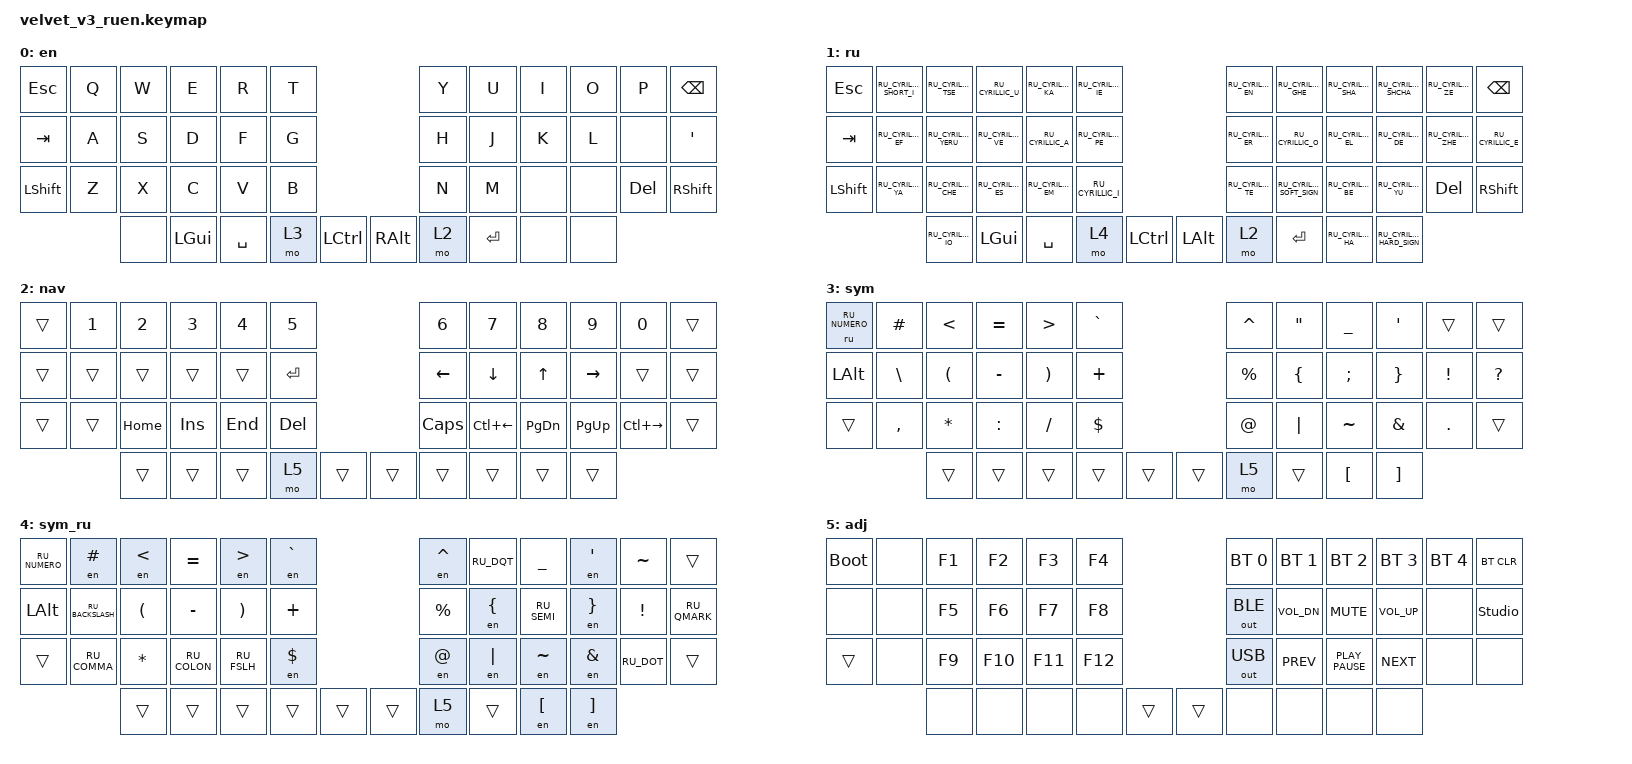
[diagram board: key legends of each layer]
#include "keys_ru.h"
#include <behaviors.dtsi>
#include <dt-bindings/zmk/bt.h>
#include <dt-bindings/zmk/keys.h>
#include <dt-bindings/zmk/outputs.h>

/ {
    combos {
        compatible = "zmk,combos";

        cmben {
            bindings = <&layer_en>;
            key-positions = <3 4>;
            layers = <1>;
        };

        cmbru {
            bindings = <&layer_ru>;
            key-positions = <3 4>;
            layers = <0>;
        };

        cmbemoji {
            bindings = <&kp LG(DOT)>;
            key-positions = <34 38>;
            layers = <0 1>;
        };

        cmbcombo {
            bindings = <&kp LG(GRAVE)>;
            key-positions = <38 12>;
            layers = <0 1>;
        };
    };

    macros {
        to_ru: to_ru {
            compatible = "zmk,behavior-macro";
            #binding-cells = <0>;
            bindings = <&kp LS(LC(N2))>;
            label = "TO_RU";
        };

        to_en: to_en {
            compatible = "zmk,behavior-macro";
            #binding-cells = <0>;
            bindings = <&kp LS(LC(N1))>;
            label = "TO_EN";
        };

        layer_en: layer_en {
            compatible = "zmk,behavior-macro";
            #binding-cells = <0>;
            bindings = <&to 0 &to_en>;
            label = "LAYER_EN";
        };

        layer_ru: layer_ru {
            compatible = "zmk,behavior-macro";
            #binding-cells = <0>;
            bindings = <&to 1 &to_ru>;
            label = "LAYER_RU";
        };

        en: en {
            compatible = "zmk,behavior-macro-one-param";
            #binding-cells = <1>;
            bindings = <&kp LS(LC(NUMBER_1)) &macro_param_1to1 &kp MACRO_PLACEHOLDER &kp LS(LC(NUMBER_2))>;
            label = "EN";
            tap-ms = <30>;
        };

        ru: ru {
            compatible = "zmk,behavior-macro-one-param";
            #binding-cells = <1>;
            bindings = <&kp LS(LC(NUMBER_2)) &macro_param_1to1 &kp MACRO_PLACEHOLDER &kp LS(LC(NUMBER_1))>;
            label = "RU";
            tap-ms = <30>;
        };
    };

    keymap {
        compatible = "zmk,keymap";

        en {
            bindings = <
&kp ESC    &kp Q  &kp W  &kp E     &kp R      &kp T                                &kp Y  &kp U      &kp I  &kp O  &kp P       &kp BSPC
&kp TAB    &kp A  &kp S  &kp D     &kp F      &kp G                                &kp H  &kp J      &kp K  &kp L  &none       &kp SINGLE_QUOTE
&kp LSHFT  &kp Z  &kp X  &kp C     &kp V      &kp B                                &kp N  &kp M      &none  &none  &kp DELETE  &kp RSHFT
                  &none  &kp LGUI  &kp SPACE  &mo 3  &kp LEFT_CONTROL    &kp RALT  &mo 2  &kp ENTER  &none  &none
            >;

            display-name = "en";
        };

        ru {
            display-name = "ru";
            bindings = <
&kp ESC    &kp RU_CYRILLIC_SHORT_I  &kp RU_CYRILLIC_TSE   &kp RU_CYRILLIC_U   &kp RU_CYRILLIC_KA  &kp RU_CYRILLIC_IE                                    &kp RU_CYRILLIC_EN  &kp RU_CYRILLIC_GHE        &kp RU_CYRILLIC_SHA  &kp RU_CYRILLIC_SHCHA      &kp RU_CYRILLIC_ZE   &kp BSPC
&kp TAB    &kp RU_CYRILLIC_EF       &kp RU_CYRILLIC_YERU  &kp RU_CYRILLIC_VE  &kp RU_CYRILLIC_A   &kp RU_CYRILLIC_PE                                    &kp RU_CYRILLIC_ER  &kp RU_CYRILLIC_O          &kp RU_CYRILLIC_EL   &kp RU_CYRILLIC_DE         &kp RU_CYRILLIC_ZHE  &kp RU_CYRILLIC_E
&kp LSHFT  &kp RU_CYRILLIC_YA       &kp RU_CYRILLIC_CHE   &kp RU_CYRILLIC_ES  &kp RU_CYRILLIC_EM  &kp RU_CYRILLIC_I                                     &kp RU_CYRILLIC_TE  &kp RU_CYRILLIC_SOFT_SIGN  &kp RU_CYRILLIC_BE   &kp RU_CYRILLIC_YU         &kp DELETE           &kp RSHFT
                                    &kp RU_CYRILLIC_IO    &kp LGUI            &kp SPACE           &mo 4               &kp LEFT_CONTROL    &kp LEFT_ALT  &mo 2               &kp RETURN                 &kp RU_CYRILLIC_HA   &kp RU_CYRILLIC_HARD_SIGN
            >;
        };

        nav {
            bindings = <
&trans  &kp N1  &kp N2    &kp N3   &kp N4   &kp N5                     &kp N6    &kp N7          &kp N8         &kp N9           &kp N0         &trans
&trans  &trans  &trans    &trans   &trans   &kp RET                    &kp LEFT  &kp DOWN_ARROW  &kp UP_ARROW   &kp RIGHT_ARROW  &trans         &trans
&trans  &trans  &kp HOME  &kp INS  &kp END  &kp DEL                    &kp CLCK  &kp LC(LEFT)    &kp PAGE_DOWN  &kp PAGE_UP      &kp LC(RIGHT)  &trans
                &trans    &trans   &trans   &mo 5    &trans    &trans  &trans    &trans          &trans         &trans
            >;

            display-name = "nav";
        };

        sym {
            bindings = <
&ru RU_NUMERO  &kp HASH   &kp LT    &kp EQUAL  &kp GT    &kp GRAVE                    &kp CARET  &kp DQT   &kp UNDER  &kp SQT   &trans    &trans
&kp LEFT_ALT   &kp BSLH   &kp LPAR  &kp MINUS  &kp RPAR  &kp PLUS                     &kp PRCNT  &kp LBRC  &kp SEMI   &kp RBRC  &kp EXCL  &kp QUESTION
&trans         &kp COMMA  &kp STAR  &kp COLON  &kp FSLH  &kp DLLR                     &kp AT     &kp PIPE  &kp TILDE  &kp AMPS  &kp DOT   &trans
                          &trans    &trans     &trans    &trans     &trans    &trans  &mo 5      &trans    &kp LBKT   &kp RBKT
            >;

            display-name = "sym";
        };

        sym_ru {
            display-name = "sym_ru";
            bindings = <
&kp RU_NUMERO  &en HASH          &en LT    &kp EQUAL     &en GT       &en GRAVE                    &en CARET  &kp RU_DQT  &kp UNDER    &en SQT   &kp TILDE   &trans
&kp LALT       &kp RU_BACKSLASH  &kp LPAR  &kp MINUS     &kp RPAR     &kp PLUS                     &kp PRCNT  &en LBRC    &kp RU_SEMI  &en RBRC  &kp EXCL    &kp RU_QMARK
&trans         &kp RU_COMMA      &kp STAR  &kp RU_COLON  &kp RU_FSLH  &en DLLR                     &en AT     &en PIPE    &en TILDE    &en AMPS  &kp RU_DOT  &trans
                                 &trans    &trans        &trans       &trans     &trans    &trans  &mo 5      &trans      &en LBKT     &en RBKT
            >;
        };

        adj {
            bindings = <
&bootloader  &none  &kp F1  &kp F2   &kp F3   &kp F4                     &bt BT_SEL 0  &bt BT_SEL 1  &bt BT_SEL 2      &bt BT_SEL 3  &bt BT_SEL 4  &bt BT_CLR
&none        &none  &kp F5  &kp F6   &kp F7   &kp F8                     &out OUT_BLE  &kp C_VOL_DN  &kp K_MUTE        &kp C_VOL_UP  &none         &studio_unlock
&trans       &none  &kp F9  &kp F10  &kp F11  &kp F12                    &out OUT_USB  &kp K_PREV    &kp K_PLAY_PAUSE  &kp K_NEXT    &none         &none
                    &none   &none    &none    &none    &trans    &trans  &none         &none         &none             &none
            >;

            display-name = "adj";
        };
    };
};
